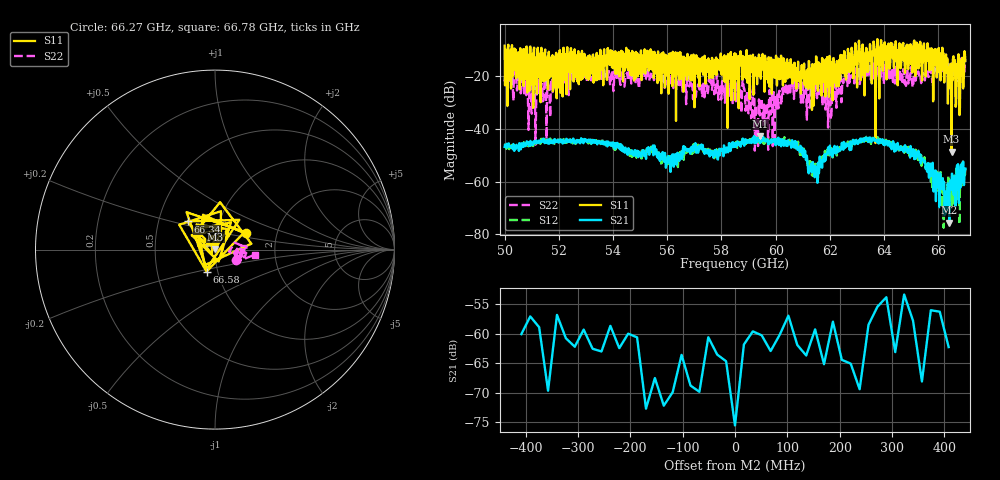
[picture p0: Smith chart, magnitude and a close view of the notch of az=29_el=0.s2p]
!Created with skrf (http://scikit-rf.org).
# GHz S RI R 50.0
!freq ReS11 ImS11 ReS21 ImS21 ReS12 ImS12 ReS22 ImS22
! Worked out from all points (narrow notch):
!   1001 points, 50 GHz to 67 GHz, reference 50 ohm
!   highest |S21| = -42.63 dB at 59.42 GHz (marker M1); lowest = -75.6 dB at 66.41 GHz (marker M2)
!   notch at M2: 28.9 dB deep, 70.1 MHz wide at half that depth
!   lowest |S11| = -48.6 dB at 66.49 GHz (marker M3), VSWR 1.01, Z = 50.2 + j0.32 ohm
!   |S11| at or under -10 dB: 52.58 GHz to 53.53 GHz (950.4 MHz wide, 1.79 % of centre); 55.39 GHz to 58.92 GHz (3.535 GHz wide, 6.18 % of centre); 58.93 GHz to 62.66 GHz (3.739 GHz wide, 6.15 % of centre) (the widest 3 of 62)
!   |S22| runs from -48.2 to -12.9 dB; largest |S21 - S12| = 0.0023
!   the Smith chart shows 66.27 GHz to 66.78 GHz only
!   S11 on the Smith chart (normalised r, x): 66.27 GHz: 1.39, +0.27; 66.34 GHz: 0.70, +0.23; 66.58 GHz: 0.88, -0.22; 66.78 GHz: 0.99, +0.04
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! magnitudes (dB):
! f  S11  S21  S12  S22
! 50 GHz  -8.3  -46.8  -46.2  -21.9
! 50.44 GHz  -10.7  -45.9  -45.9  -23.5
! 51.07 GHz  -10.1  -44.6  -45.2  -23.5
! 52.84 GHz  -12.3  -44.0  -44.9  -18.3
! 55.68 GHz  -13.5  -50.7  -49.6  -20.7
! 58.5 GHz  -28.9  -46.7  -45.6  -23.6
! 59.13 GHz  -18.2  -43.6  -43.7  -36.5
! 59.32 GHz  -22.9  -43.4  -44.1  -36.6
! 59.42 GHz  -14.4  -42.6  -44.3  -34.8
! 60.74 GHz  -18.3  -47.3  -45.4  -23.8
! 61.34 GHz  -32.7  -56.5  -57.6  -25.7
! 62 GHz  -12.5  -46.3  -48.9  -23.2
! 62.6 GHz  -21.2  -45.5  -46.6  -19.8
! 64.18 GHz  -12.1  -45.4  -44.5  -17.1
! 65.25 GHz  -7.8  -49.4  -51.6  -18.2
! 66.27 GHz  -14.0  -72.2  -68.9  -17.5
! 66.34 GHz  -13.2  -69.9  -61.1  -17.7
! 66.41 GHz  -19.2  -75.6  -74.7  -17.2
! 66.49 GHz  -48.6  -60.2  -70.0  -15.3
! 66.58 GHz  -17.6  -65.2  -58.1  -16.1
! 66.78 GHz  -34.7  -56.0  -76.3  -12.9
! 67 GHz  -14.1  -55.0  -54.9  -14.9
